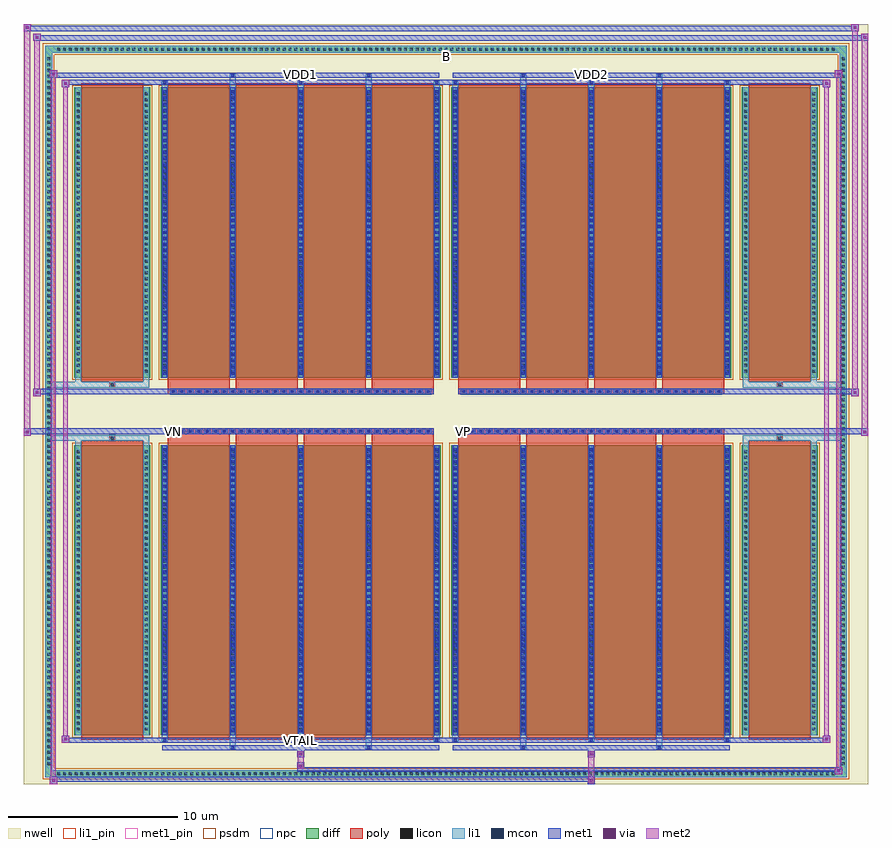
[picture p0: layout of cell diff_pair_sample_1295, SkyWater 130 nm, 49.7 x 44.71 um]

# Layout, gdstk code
import gdstk
lib = gdstk.Library(unit=1e-6, precision=5e-09)
def R(c, l, rs):  # rectangles x0, y0, x1, y1
    for r in rs: c.add(gdstk.rectangle(r[:2], r[2:], *l))
def A(c, l, x, y, w, h, nx, ny, dx, dy):  # array of equal rectangles
    R(c, l, [(x+i*dx, y+j*dy, x+i*dx+w, y+j*dy+h) for i in range(nx) for j in range(ny)])
def P(c, l, *ps):  # polygons
    for p in ps: c.add(gdstk.Polygon(p, *l))
nwell = (64, 20)
diff = (65, 20)
poly = (66, 20)
licon = (66, 44)
li1_pin = (67, 16)
li1 = (67, 20)
mcon = (67, 44)
met1_pin = (68, 16)
met1 = (68, 20)
via = (68, 44)
met2 = (69, 20)
psdm = (94, 20)
npc = (95, 20)

diff_pair_sample_1295 = lib.new_cell('diff_pair_sample_1295')
R(diff_pair_sample_1295, nwell, [(-24.85,-21.92,24.85,22.79), (-22.17,-20.11,-0.01,-0.805), (0.01,-20.11,22.17,-0.805), (-22.17,0.805,-0.01,20.11), (0.01,0.805,22.17,20.11)])
A(diff_pair_sample_1295, diff, -22.985, -21.52, 0.41, 0.41, 135, 2, 0.34, 42.63)
A(diff_pair_sample_1295, diff, -23.58, -20.945, 0.41, 0.41, 1, 123, 0, 0.34)
A(diff_pair_sample_1295, diff, 23.17, -20.945, 0.41, 0.41, 1, 123, 0, 0.34)
R(diff_pair_sample_1295, diff, [(-22.985,-21.52,22.985,-21.11), (-23.58,-20.945,-23.17,20.945), (23.17,-20.945,23.58,20.945), (-21.86,-19.065,-17.41,-1.985), (-16.77,-19.065,-0.32,-1.985), (0.32,-19.065,16.77,-1.985), (17.41,-19.065,21.86,-1.985), (-21.86,1.985,-17.41,19.065), (-16.77,1.985,-0.32,19.065), (0.32,1.985,16.77,19.065), (17.41,1.985,21.86,19.065), (-22.985,21.11,22.985,21.52)])
P(diff_pair_sample_1295, diff, [(23.58,21.52),(-23.58,21.52),(-23.58,-21.11),(-23.17,-21.11),(-23.17,21.11),(23.17,21.11),(23.17,-21.11),(-23.17,-21.11),(-23.58,-21.11),(-23.58,-21.52),(23.58,-21.52)])
A(diff_pair_sample_1295, poly, -16.38, -19.315, 3.67, 17.58, 4, 2, 4, 21.05)
A(diff_pair_sample_1295, poly, 0.71, -19.315, 3.67, 17.58, 4, 2, 4, 21.05)
A(diff_pair_sample_1295, poly, -16.38, -1.735, 3.67, 0.4, 4, 2, 4, 3.07)
A(diff_pair_sample_1295, poly, 0.71, -1.735, 3.67, 0.4, 4, 2, 4, 3.07)
A(diff_pair_sample_1295, poly, -16.21, -1.335, 0.33, 0.33, 31, 2, 0.5, 2.34)
A(diff_pair_sample_1295, poly, 0.88, -1.335, 0.33, 0.33, 31, 2, 0.5, 2.34)
R(diff_pair_sample_1295, poly, [(-21.47,-19.315,-17.8,-1.735), (17.8,-19.315,21.47,-1.735), (-19.8,-1.735,-19.47,-1.405), (-19.8,-1.735,-19.47,-1.405), (19.47,-1.735,19.8,-1.405), (19.47,-1.735,19.8,-1.405), (-16.38,-1.335,-0.71,-1.005), (0.71,-1.335,16.38,-1.005), (-16.38,1.005,-0.71,1.335), (0.71,1.005,16.38,1.335), (-19.8,1.405,-19.47,1.735), (-19.8,1.405,-19.47,1.735), (19.47,1.405,19.8,1.735), (19.47,1.405,19.8,1.735), (-21.47,1.735,-17.8,19.315), (17.8,1.735,21.47,19.315)])
A(diff_pair_sample_1295, licon, -22.865, -21.4, 0.17, 0.17, 135, 2, 0.34, 42.63)
A(diff_pair_sample_1295, licon, -23.46, -20.825, 0.17, 0.17, 1, 123, 0, 0.34)
A(diff_pair_sample_1295, licon, 23.29, -20.825, 0.17, 0.17, 1, 123, 0, 0.34)
A(diff_pair_sample_1295, licon, -21.72, -18.77, 0.17, 0.17, 1, 49, 0, 0.34)
A(diff_pair_sample_1295, licon, -17.72, -18.77, 0.17, 0.17, 1, 49, 0, 0.34)
A(diff_pair_sample_1295, licon, -16.63, -18.77, 0.17, 0.17, 5, 49, 4, 0.34)
A(diff_pair_sample_1295, licon, 0.46, -18.77, 0.17, 0.17, 5, 49, 4, 0.34)
A(diff_pair_sample_1295, licon, 17.55, -18.77, 0.17, 0.17, 1, 49, 0, 0.34)
A(diff_pair_sample_1295, licon, 21.55, -18.77, 0.17, 0.17, 1, 49, 0, 0.34)
A(diff_pair_sample_1295, licon, -16.13, -1.255, 0.17, 0.17, 31, 2, 0.5, 2.34)
A(diff_pair_sample_1295, licon, 0.96, -1.255, 0.17, 0.17, 31, 2, 0.5, 2.34)
A(diff_pair_sample_1295, licon, -21.72, 2.28, 0.17, 0.17, 1, 49, 0, 0.34)
A(diff_pair_sample_1295, licon, -17.72, 2.28, 0.17, 0.17, 1, 49, 0, 0.34)
A(diff_pair_sample_1295, licon, -16.63, 2.28, 0.17, 0.17, 5, 49, 4, 0.34)
A(diff_pair_sample_1295, licon, 0.46, 2.28, 0.17, 0.17, 5, 49, 4, 0.34)
A(diff_pair_sample_1295, licon, 17.55, 2.28, 0.17, 0.17, 1, 49, 0, 0.34)
A(diff_pair_sample_1295, licon, 21.55, 2.28, 0.17, 0.17, 1, 49, 0, 0.34)
R(diff_pair_sample_1295, licon, [(-19.72,-1.655,-19.55,-1.485), (19.55,-1.655,19.72,-1.485), (-19.72,1.485,-19.55,1.655), (19.55,1.485,19.72,1.655)])
R(diff_pair_sample_1295, li1_pin, [(-0.25,20.61,0.25,21.11)])
A(diff_pair_sample_1295, li1, -22.945, -21.48, 0.33, 0.33, 135, 2, 0.34, 42.63)
A(diff_pair_sample_1295, li1, -23.54, -20.905, 0.33, 0.33, 1, 123, 0, 0.34)
A(diff_pair_sample_1295, li1, 23.21, -20.905, 0.33, 0.33, 1, 123, 0, 0.34)
A(diff_pair_sample_1295, li1, -16.71, -19.44, 0.33, 0.375, 3, 2, 8, 38.505)
A(diff_pair_sample_1295, li1, -16.63, -19.44, 0.17, 0.17, 3, 2, 8, 38.71)
A(diff_pair_sample_1295, li1, 0.38, -19.44, 0.33, 0.375, 3, 2, 8, 38.505)
A(diff_pair_sample_1295, li1, 0.46, -19.44, 0.17, 0.17, 3, 2, 8, 38.71)
A(diff_pair_sample_1295, li1, -16.71, -19.065, 0.33, 17.08, 5, 2, 4, 21.05)
A(diff_pair_sample_1295, li1, 0.38, -19.065, 0.33, 17.08, 5, 2, 4, 21.05)
A(diff_pair_sample_1295, li1, -16.63, -18.89, 0.17, 0.17, 5, 47, 4, 0.36)
A(diff_pair_sample_1295, li1, -16.63, -18.89, 0.17, 16.73, 5, 2, 4, 21.05)
A(diff_pair_sample_1295, li1, 0.46, -18.89, 0.17, 0.17, 5, 47, 4, 0.36)
A(diff_pair_sample_1295, li1, 0.46, -18.89, 0.17, 16.73, 5, 2, 4, 21.05)
A(diff_pair_sample_1295, li1, -21.8, -18.85, 0.33, 0.33, 1, 49, 0, 0.34)
A(diff_pair_sample_1295, li1, -17.8, -18.85, 0.33, 0.33, 1, 49, 0, 0.34)
A(diff_pair_sample_1295, li1, -16.71, -18.85, 0.33, 0.33, 5, 49, 4, 0.34)
A(diff_pair_sample_1295, li1, 0.38, -18.85, 0.33, 0.33, 5, 49, 4, 0.34)
A(diff_pair_sample_1295, li1, 17.47, -18.85, 0.33, 0.33, 1, 49, 0, 0.34)
A(diff_pair_sample_1295, li1, 21.47, -18.85, 0.33, 0.33, 1, 49, 0, 0.34)
A(diff_pair_sample_1295, li1, -16.21, -1.335, 0.33, 0.33, 31, 2, 0.5, 2.34)
A(diff_pair_sample_1295, li1, 0.88, -1.335, 0.33, 0.33, 31, 2, 0.5, 2.34)
A(diff_pair_sample_1295, li1, -16.63, 2.16, 0.17, 0.17, 5, 47, 4, 0.36)
A(diff_pair_sample_1295, li1, 0.46, 2.16, 0.17, 0.17, 5, 47, 4, 0.36)
A(diff_pair_sample_1295, li1, -21.8, 2.2, 0.33, 0.33, 1, 49, 0, 0.34)
A(diff_pair_sample_1295, li1, -17.8, 2.2, 0.33, 0.33, 1, 49, 0, 0.34)
A(diff_pair_sample_1295, li1, -16.71, 2.2, 0.33, 0.33, 5, 49, 4, 0.34)
A(diff_pair_sample_1295, li1, 0.38, 2.2, 0.33, 0.33, 5, 49, 4, 0.34)
A(diff_pair_sample_1295, li1, 17.47, 2.2, 0.33, 0.33, 1, 49, 0, 0.34)
A(diff_pair_sample_1295, li1, 21.47, 2.2, 0.33, 0.33, 1, 49, 0, 0.34)
R(diff_pair_sample_1295, li1, [(-23.58,-21.52,-23.17,-21.11), (-23.58,-21.52,-23.17,-21.11), (-23.17,-21.52,23.17,-21.11), (23.17,-21.52,23.58,-21.11), (23.17,-21.52,23.58,-21.11), (-23.58,-21.11,-23.17,21.11), (23.17,-21.11,23.58,21.11), (-12.71,-19.87,-12.38,-19.065), (-12.63,-19.87,-12.46,-19.7), (-4.71,-19.87,-4.38,-19.065), (-4.63,-19.87,-4.46,-19.7), (4.38,-19.87,4.71,-19.065), (4.46,-19.87,4.63,-19.7), (12.38,-19.87,12.71,-19.065), (12.46,-19.87,12.63,-19.7), (-21.8,-19.065,-21.47,-1.985), (-17.8,-19.065,-17.47,-1.985), (17.47,-19.065,17.8,-1.985), (21.47,-19.065,21.8,-1.985), (-21.8,-1.985,-21.47,-1.405), (-17.8,-1.985,-17.47,-1.405), (17.47,-1.985,17.8,-1.405), (21.47,-1.985,21.8,-1.405), (-23.58,-1.735,-19.8,-1.405), (-21.8,-1.735,-19.8,-1.405), (-19.8,-1.735,-19.47,-1.405), (-19.47,-1.735,-17.47,-1.405), (17.47,-1.735,19.47,-1.405), (19.47,-1.735,19.8,-1.405), (19.47,-1.735,23.58,-1.405), (19.8,-1.735,21.8,-1.405), (-23.58,1.405,-19.8,1.735), (-21.8,1.405,-19.8,1.735), (-21.8,1.405,-21.47,1.985), (-19.8,1.405,-19.47,1.735), (-19.47,1.405,-17.47,1.735), (-17.8,1.405,-17.47,1.985), (17.47,1.405,19.47,1.735), (17.47,1.405,17.8,1.985), (19.47,1.405,19.8,1.735), (19.47,1.405,23.58,1.735), (19.8,1.405,21.8,1.735), (21.47,1.405,21.8,1.985), (-21.8,1.985,-21.47,19.065), (-17.8,1.985,-17.47,19.065), (17.47,1.985,17.8,19.065), (21.47,1.985,21.8,19.065), (-12.71,19.065,-12.38,19.87), (-4.71,19.065,-4.38,19.87), (4.38,19.065,4.71,19.87), (12.38,19.065,12.71,19.87), (-12.63,19.7,-12.46,19.87), (-4.63,19.7,-4.46,19.87), (4.46,19.7,4.63,19.87), (12.46,19.7,12.63,19.87), (-23.58,21.11,-23.17,21.52), (-23.58,21.11,-23.17,21.52), (-23.17,21.11,23.17,21.52), (23.17,21.11,23.58,21.52), (23.17,21.11,23.58,21.52)])
A(diff_pair_sample_1295, mcon, -16.63, -19.44, 0.17, 0.17, 3, 2, 8, 38.71)
A(diff_pair_sample_1295, mcon, 0.46, -19.44, 0.17, 0.17, 3, 2, 8, 38.71)
A(diff_pair_sample_1295, mcon, -16.63, -18.89, 0.17, 0.17, 5, 47, 4, 0.36)
A(diff_pair_sample_1295, mcon, 0.46, -18.89, 0.17, 0.17, 5, 47, 4, 0.36)
A(diff_pair_sample_1295, mcon, -16.13, -1.255, 0.17, 0.17, 31, 2, 0.5, 2.34)
A(diff_pair_sample_1295, mcon, 0.96, -1.255, 0.17, 0.17, 31, 2, 0.5, 2.34)
A(diff_pair_sample_1295, mcon, -16.63, 2.16, 0.17, 0.17, 5, 47, 4, 0.36)
A(diff_pair_sample_1295, mcon, 0.46, 2.16, 0.17, 0.17, 5, 47, 4, 0.36)
R(diff_pair_sample_1295, mcon, [(-12.63,-19.87,-12.46,-19.7), (-4.63,-19.87,-4.46,-19.7), (4.46,-19.87,4.63,-19.7), (12.46,-19.87,12.63,-19.7), (-12.63,19.7,-12.46,19.87), (-4.63,19.7,-4.46,19.87), (4.46,19.7,4.63,19.87), (12.46,19.7,12.63,19.87)])
R(diff_pair_sample_1295, met1_pin, [(-8.68,-19.48,-8.41,-19.21), (-16.18,-1.295,-15.91,-1.025), (0.91,-1.295,1.18,-1.025), (-8.68,19.66,-8.41,19.93), (8.41,19.66,8.68,19.93)])
A(diff_pair_sample_1295, met1, -16.69, -19.5, 0.29, 0.29, 3, 2, 8, 38.71)
A(diff_pair_sample_1295, met1, 0.4, -19.5, 0.29, 0.29, 3, 2, 8, 38.71)
A(diff_pair_sample_1295, met1, -16.69, -19.065, 0.29, 17.08, 5, 2, 4, 21.05)
A(diff_pair_sample_1295, met1, 0.4, -19.065, 0.29, 17.08, 5, 2, 4, 21.05)
A(diff_pair_sample_1295, met1, -16.69, -18.95, 0.29, 0.29, 5, 47, 4, 0.36)
A(diff_pair_sample_1295, met1, 0.4, -18.95, 0.29, 0.29, 5, 47, 4, 0.36)
A(diff_pair_sample_1295, met1, -16.19, -1.315, 0.29, 0.29, 31, 2, 0.5, 2.34)
A(diff_pair_sample_1295, met1, 0.9, -1.315, 0.29, 0.29, 31, 2, 0.5, 2.34)
A(diff_pair_sample_1295, met1, -16.69, 2.1, 0.29, 0.29, 5, 47, 4, 0.36)
A(diff_pair_sample_1295, met1, 0.4, 2.1, 0.29, 0.29, 5, 47, 4, 0.36)
R(diff_pair_sample_1295, met1, [(-23.31,-21.92,-22.88,-21.49), (8.33,-21.92,8.76,-21.49), (-23.31,-21.78,8.76,-21.49), (22.88,-21.35,23.31,-20.92), (-8.76,-21.21,23.31,-20.92), (-8.76,-21.07,-8.33,-20.64), (-8.76,-20.36,-8.33,-19.93), (8.33,-20.36,8.76,-19.93), (-16.69,-19.93,-0.4,-19.64), (-12.69,-19.93,-12.4,-19.64), (-4.69,-19.93,-4.4,-19.64), (0.4,-19.93,16.69,-19.64), (4.4,-19.93,4.69,-19.64), (12.4,-19.93,12.69,-19.64), (-22.6,-19.5,-22.17,-19.07), (-22.6,-19.5,-16.69,-19.21), (-16.69,-19.5,-0.4,-19.21), (-0.4,-19.5,0.4,-19.21), (0.4,-19.5,16.69,-19.21), (16.69,-19.5,22.6,-19.21), (22.17,-19.5,22.6,-19.07), (-24.85,-1.435,-24.42,-1.005), (24.42,-1.435,24.85,-1.005), (-24.85,-1.335,-0.71,-1.005), (-16.38,-1.335,-0.71,-1.005), (0.71,-1.335,16.38,-1.005), (0.71,-1.335,24.85,-1.005), (-24.28,0.905,-23.85,1.335), (23.85,0.905,24.28,1.335), (-24.28,1.005,-16.38,1.335), (-16.38,1.005,-0.71,1.335), (0.71,1.005,16.38,1.335), (16.38,1.005,24.28,1.335), (-22.6,19.07,-22.17,19.5), (22.17,19.07,22.6,19.5), (-22.6,19.21,-16.69,19.5), (-16.69,19.21,-0.4,19.5), (-0.4,19.21,0.4,19.5), (0.4,19.21,16.69,19.5), (16.69,19.21,22.6,19.5), (-23.31,19.64,-22.88,20.07), (-23.31,19.64,-16.69,19.93), (-16.69,19.64,-0.4,19.93), (-12.69,19.64,-12.4,19.93), (-4.69,19.64,-4.4,19.93), (0.4,19.64,16.69,19.93), (4.4,19.64,4.69,19.93), (12.4,19.64,12.69,19.93), (16.69,19.64,23.31,19.93), (22.88,19.64,23.31,20.07), (-24.28,21.79,-23.85,22.22), (-24.28,21.79,-22.17,22.12), (-22.17,21.79,22.17,22.12), (22.17,21.79,24.85,22.12), (24.42,21.79,24.85,22.22), (-24.85,22.36,-24.42,22.79), (-24.85,22.36,-22.17,22.69), (-22.17,22.36,22.17,22.69), (22.17,22.36,24.28,22.69), (23.85,22.36,24.28,22.79)])
R(diff_pair_sample_1295, via, [(-23.17,-21.78,-23.02,-21.63), (8.47,-21.78,8.62,-21.63), (23.02,-21.21,23.17,-21.06), (-8.62,-20.93,-8.47,-20.78), (-8.62,-20.22,-8.47,-20.07), (8.47,-20.22,8.62,-20.07), (-22.46,-19.36,-22.31,-19.21), (22.31,-19.36,22.46,-19.21), (-24.71,-1.295,-24.56,-1.145), (24.56,-1.295,24.71,-1.145), (-24.14,1.045,-23.99,1.195), (23.99,1.045,24.14,1.195), (-22.46,19.21,-22.31,19.36), (22.31,19.21,22.46,19.36), (-23.17,19.78,-23.02,19.93), (23.02,19.78,23.17,19.93), (-24.14,21.93,-23.99,22.08), (24.56,21.93,24.71,22.08), (-24.71,22.5,-24.56,22.65), (23.99,22.5,24.14,22.65)])
R(diff_pair_sample_1295, met2, [(-23.31,-21.92,-22.88,-21.49), (-23.24,-21.92,-22.95,20.07), (-22.95,-21.92,-22.88,-21.49), (-23.26,-21.87,-22.93,-21.54), (8.38,-21.87,8.71,-21.54), (8.38,-21.54,8.71,-20.31), (22.88,-21.35,23.31,-20.92), (22.95,-21.35,23.24,20.07), (23.24,-21.35,23.31,-20.92), (22.93,-21.3,23.26,-20.97), (-8.71,-21.02,-8.38,-20.69), (-8.71,-20.69,-8.38,-20.31), (-8.71,-20.31,-8.38,-19.98), (8.38,-20.31,8.71,-19.98), (-22.6,-19.5,-22.17,-19.07), (-22.53,-19.5,-22.24,19.5), (-22.24,-19.5,-22.17,-19.07), (22.17,-19.5,22.6,-19.07), (22.24,-19.5,22.53,19.5), (22.53,-19.5,22.6,-19.07), (-22.55,-19.45,-22.22,-19.12), (22.22,-19.45,22.55,-19.12), (-24.85,-1.435,-24.42,-1.005), (-24.8,-1.435,-24.47,22.79), (-24.47,-1.435,-24.42,-1.005), (24.42,-1.435,24.85,-1.005), (24.47,-1.435,24.8,22.22), (24.8,-1.435,24.85,-1.005), (-24.8,-1.385,-24.47,-1.055), (24.47,-1.385,24.8,-1.055), (-24.28,0.905,-23.85,1.335), (-24.23,0.905,-23.9,22.22), (-23.9,0.905,-23.85,1.335), (23.85,0.905,24.28,1.335), (23.9,0.905,24.23,22.79), (24.23,0.905,24.28,1.335), (-24.23,0.955,-23.9,1.285), (23.9,0.955,24.23,1.285), (-22.6,19.07,-22.17,19.5), (-22.24,19.07,-22.17,19.5), (22.17,19.07,22.6,19.5), (22.53,19.07,22.6,19.5), (-22.55,19.12,-22.22,19.45), (22.22,19.12,22.55,19.45), (-23.31,19.64,-22.88,20.07), (-22.95,19.64,-22.88,20.07), (22.88,19.64,23.31,20.07), (23.24,19.64,23.31,20.07), (-23.26,19.69,-22.93,20.02), (22.93,19.69,23.26,20.02), (-24.28,21.79,-23.85,22.22), (-23.9,21.79,-23.85,22.22), (24.42,21.79,24.85,22.22), (24.8,21.79,24.85,22.22), (-24.23,21.84,-23.9,22.17), (24.47,21.84,24.8,22.17), (-24.85,22.36,-24.42,22.79), (-24.47,22.36,-24.42,22.79), (23.85,22.36,24.28,22.79), (24.23,22.36,24.28,22.79), (-24.8,22.41,-24.47,22.74), (23.9,22.41,24.23,22.74)])
R(diff_pair_sample_1295, psdm, [(-21.99,-19.195,-17.28,-1.855), (-16.9,-19.195,-0.19,-1.855), (0.19,-19.195,16.9,-1.855), (17.28,-19.195,21.99,-1.855), (-21.99,1.855,-17.28,19.195), (-16.9,1.855,-0.19,19.195), (0.19,1.855,16.9,19.195), (17.28,1.855,21.99,19.195)])
P(diff_pair_sample_1295, psdm, [(23.71,21.65),(-23.71,21.65),(-23.71,-20.98),(-23.04,-20.98),(-23.04,20.98),(23.04,20.98),(23.04,-20.98),(-23.04,-20.98),(-23.71,-20.98),(-23.71,-21.65),(23.71,-21.65)])
A(diff_pair_sample_1295, npc, -16.23, -1.355, 0.37, 0.37, 31, 2, 0.5, 2.34)
A(diff_pair_sample_1295, npc, 0.86, -1.355, 0.37, 0.37, 31, 2, 0.5, 2.34)
R(diff_pair_sample_1295, npc, [(-19.82,-1.755,-19.45,-1.385), (19.45,-1.755,19.82,-1.385), (-16.23,-1.355,-15.36,-0.985), (-16.23,-1.355,-15.36,-0.985), (-15.73,-1.355,-14.86,-0.985), (-15.73,-1.355,-14.86,-0.985), (-15.23,-1.355,-14.36,-0.985), (-15.23,-1.355,-14.36,-0.985), (-14.73,-1.355,-13.86,-0.985), (-14.73,-1.355,-13.86,-0.985), (-14.23,-1.355,-13.36,-0.985), (-14.23,-1.355,-13.36,-0.985), (-13.73,-1.355,-12.86,-0.985), (-13.73,-1.355,-12.86,-0.985), (-13.23,-1.355,-12.36,-0.985), (-13.23,-1.355,-12.36,-0.985), (-12.73,-1.355,-11.86,-0.985), (-12.73,-1.355,-11.86,-0.985), (-12.23,-1.355,-11.36,-0.985), (-12.23,-1.355,-11.36,-0.985), (-11.73,-1.355,-10.86,-0.985), (-11.73,-1.355,-10.86,-0.985), (-11.23,-1.355,-10.36,-0.985), (-11.23,-1.355,-10.36,-0.985), (-10.73,-1.355,-9.86,-0.985), (-10.73,-1.355,-9.86,-0.985), (-10.23,-1.355,-9.36,-0.985), (-10.23,-1.355,-9.36,-0.985), (-9.73,-1.355,-8.86,-0.985), (-9.73,-1.355,-8.86,-0.985), (-9.23,-1.355,-8.36,-0.985), (-9.23,-1.355,-8.36,-0.985), (-8.73,-1.355,-7.86,-0.985), (-8.73,-1.355,-7.86,-0.985), (-8.23,-1.355,-7.36,-0.985), (-8.23,-1.355,-7.36,-0.985), (-7.73,-1.355,-6.86,-0.985), (-7.73,-1.355,-6.86,-0.985), (-7.23,-1.355,-6.36,-0.985), (-7.23,-1.355,-6.36,-0.985), (-6.73,-1.355,-5.86,-0.985), (-6.73,-1.355,-5.86,-0.985), (-6.23,-1.355,-5.36,-0.985), (-6.23,-1.355,-5.36,-0.985), (-5.73,-1.355,-4.86,-0.985), (-5.73,-1.355,-4.86,-0.985), (-5.23,-1.355,-4.36,-0.985), (-5.23,-1.355,-4.36,-0.985), (-4.73,-1.355,-3.86,-0.985), (-4.73,-1.355,-3.86,-0.985), (-4.23,-1.355,-3.36,-0.985), (-4.23,-1.355,-3.36,-0.985), (-3.73,-1.355,-2.86,-0.985), (-3.73,-1.355,-2.86,-0.985), (-3.23,-1.355,-2.36,-0.985), (-3.23,-1.355,-2.36,-0.985), (-2.73,-1.355,-1.86,-0.985), (-2.73,-1.355,-1.86,-0.985), (-2.23,-1.355,-1.36,-0.985), (-2.23,-1.355,-1.36,-0.985), (-1.73,-1.355,-0.86,-0.985), (-1.73,-1.355,-0.86,-0.985), (0.86,-1.355,1.73,-0.985), (0.86,-1.355,1.73,-0.985), (1.36,-1.355,2.23,-0.985), (1.36,-1.355,2.23,-0.985), (1.86,-1.355,2.73,-0.985), (1.86,-1.355,2.73,-0.985), (2.36,-1.355,3.23,-0.985), (2.36,-1.355,3.23,-0.985), (2.86,-1.355,3.73,-0.985), (2.86,-1.355,3.73,-0.985), (3.36,-1.355,4.23,-0.985), (3.36,-1.355,4.23,-0.985), (3.86,-1.355,4.73,-0.985), (3.86,-1.355,4.73,-0.985), (4.36,-1.355,5.23,-0.985), (4.36,-1.355,5.23,-0.985), (4.86,-1.355,5.73,-0.985), (4.86,-1.355,5.73,-0.985), (5.36,-1.355,6.23,-0.985), (5.36,-1.355,6.23,-0.985), (5.86,-1.355,6.73,-0.985), (5.86,-1.355,6.73,-0.985), (6.36,-1.355,7.23,-0.985), (6.36,-1.355,7.23,-0.985), (6.86,-1.355,7.73,-0.985), (6.86,-1.355,7.73,-0.985), (7.36,-1.355,8.23,-0.985), (7.36,-1.355,8.23,-0.985), (7.86,-1.355,8.73,-0.985), (7.86,-1.355,8.73,-0.985), (8.36,-1.355,9.23,-0.985), (8.36,-1.355,9.23,-0.985), (8.86,-1.355,9.73,-0.985), (8.86,-1.355,9.73,-0.985), (9.36,-1.355,10.23,-0.985), (9.36,-1.355,10.23,-0.985), (9.86,-1.355,10.73,-0.985), (9.86,-1.355,10.73,-0.985), (10.36,-1.355,11.23,-0.985), (10.36,-1.355,11.23,-0.985), (10.86,-1.355,11.73,-0.985), (10.86,-1.355,11.73,-0.985), (11.36,-1.355,12.23,-0.985), (11.36,-1.355,12.23,-0.985), (11.86,-1.355,12.73,-0.985), (11.86,-1.355,12.73,-0.985), (12.36,-1.355,13.23,-0.985), (12.36,-1.355,13.23,-0.985), (12.86,-1.355,13.73,-0.985), (12.86,-1.355,13.73,-0.985), (13.36,-1.355,14.23,-0.985), (13.36,-1.355,14.23,-0.985), (13.86,-1.355,14.73,-0.985), (13.86,-1.355,14.73,-0.985), (14.36,-1.355,15.23,-0.985), (14.36,-1.355,15.23,-0.985), (14.86,-1.355,15.73,-0.985), (14.86,-1.355,15.73,-0.985), (15.36,-1.355,16.23,-0.985), (15.36,-1.355,16.23,-0.985), (-16.23,0.985,-15.36,1.355), (-16.23,0.985,-15.36,1.355), (-15.73,0.985,-14.86,1.355), (-15.73,0.985,-14.86,1.355), (-15.23,0.985,-14.36,1.355), (-15.23,0.985,-14.36,1.355), (-14.73,0.985,-13.86,1.355), (-14.73,0.985,-13.86,1.355), (-14.23,0.985,-13.36,1.355), (-14.23,0.985,-13.36,1.355), (-13.73,0.985,-12.86,1.355), (-13.73,0.985,-12.86,1.355), (-13.23,0.985,-12.36,1.355), (-13.23,0.985,-12.36,1.355), (-12.73,0.985,-11.86,1.355), (-12.73,0.985,-11.86,1.355), (-12.23,0.985,-11.36,1.355), (-12.23,0.985,-11.36,1.355), (-11.73,0.985,-10.86,1.355), (-11.73,0.985,-10.86,1.355), (-11.23,0.985,-10.36,1.355), (-11.23,0.985,-10.36,1.355), (-10.73,0.985,-9.86,1.355), (-10.73,0.985,-9.86,1.355), (-10.23,0.985,-9.36,1.355), (-10.23,0.985,-9.36,1.355), (-9.73,0.985,-8.86,1.355), (-9.73,0.985,-8.86,1.355), (-9.23,0.985,-8.36,1.355), (-9.23,0.985,-8.36,1.355), (-8.73,0.985,-7.86,1.355), (-8.73,0.985,-7.86,1.355), (-8.23,0.985,-7.36,1.355), (-8.23,0.985,-7.36,1.355), (-7.73,0.985,-6.86,1.355), (-7.73,0.985,-6.86,1.355), (-7.23,0.985,-6.36,1.355), (-7.23,0.985,-6.36,1.355), (-6.73,0.985,-5.86,1.355), (-6.73,0.985,-5.86,1.355), (-6.23,0.985,-5.36,1.355), (-6.23,0.985,-5.36,1.355), (-5.73,0.985,-4.86,1.355), (-5.73,0.985,-4.86,1.355), (-5.23,0.985,-4.36,1.355), (-5.23,0.985,-4.36,1.355), (-4.73,0.985,-3.86,1.355), (-4.73,0.985,-3.86,1.355), (-4.23,0.985,-3.36,1.355), (-4.23,0.985,-3.36,1.355), (-3.73,0.985,-2.86,1.355), (-3.73,0.985,-2.86,1.355), (-3.23,0.985,-2.36,1.355), (-3.23,0.985,-2.36,1.355), (-2.73,0.985,-1.86,1.355), (-2.73,0.985,-1.86,1.355), (-2.23,0.985,-1.36,1.355), (-2.23,0.985,-1.36,1.355), (-1.73,0.985,-0.86,1.355), (-1.73,0.985,-0.86,1.355), (0.86,0.985,1.73,1.355), (0.86,0.985,1.73,1.355), (1.36,0.985,2.23,1.355), (1.36,0.985,2.23,1.355), (1.86,0.985,2.73,1.355), (1.86,0.985,2.73,1.355), (2.36,0.985,3.23,1.355), (2.36,0.985,3.23,1.355), (2.86,0.985,3.73,1.355), (2.86,0.985,3.73,1.355), (3.36,0.985,4.23,1.355), (3.36,0.985,4.23,1.355), (3.86,0.985,4.73,1.355), (3.86,0.985,4.73,1.355), (4.36,0.985,5.23,1.355), (4.36,0.985,5.23,1.355), (4.86,0.985,5.73,1.355), (4.86,0.985,5.73,1.355), (5.36,0.985,6.23,1.355), (5.36,0.985,6.23,1.355), (5.86,0.985,6.73,1.355), (5.86,0.985,6.73,1.355), (6.36,0.985,7.23,1.355), (6.36,0.985,7.23,1.355), (6.86,0.985,7.73,1.355), (6.86,0.985,7.73,1.355), (7.36,0.985,8.23,1.355), (7.36,0.985,8.23,1.355), (7.86,0.985,8.73,1.355), (7.86,0.985,8.73,1.355), (8.36,0.985,9.23,1.355), (8.36,0.985,9.23,1.355), (8.86,0.985,9.73,1.355), (8.86,0.985,9.73,1.355), (9.36,0.985,10.23,1.355), (9.36,0.985,10.23,1.355), (9.86,0.985,10.73,1.355), (9.86,0.985,10.73,1.355), (10.36,0.985,11.23,1.355), (10.36,0.985,11.23,1.355), (10.86,0.985,11.73,1.355), (10.86,0.985,11.73,1.355), (11.36,0.985,12.23,1.355), (11.36,0.985,12.23,1.355), (11.86,0.985,12.73,1.355), (11.86,0.985,12.73,1.355), (12.36,0.985,13.23,1.355), (12.36,0.985,13.23,1.355), (12.86,0.985,13.73,1.355), (12.86,0.985,13.73,1.355), (13.36,0.985,14.23,1.355), (13.36,0.985,14.23,1.355), (13.86,0.985,14.73,1.355), (13.86,0.985,14.73,1.355), (14.36,0.985,15.23,1.355), (14.36,0.985,15.23,1.355), (14.86,0.985,15.73,1.355), (14.86,0.985,15.73,1.355), (15.36,0.985,16.23,1.355), (15.36,0.985,16.23,1.355), (-19.82,1.385,-19.45,1.755), (19.45,1.385,19.82,1.755)])
diff_pair_sample_1295.add(gdstk.Label('VTAIL', (-8.545,-19.345), layer=68, texttype=5))
diff_pair_sample_1295.add(gdstk.Label('VN', (-16.045,-1.16), layer=68, texttype=5))
diff_pair_sample_1295.add(gdstk.Label('VP', (1.045,-1.16), layer=68, texttype=5))
diff_pair_sample_1295.add(gdstk.Label('B', (0,20.86), layer=67, texttype=5))
diff_pair_sample_1295.add(gdstk.Label('VDD2', (8.545,19.795), layer=68, texttype=5))
diff_pair_sample_1295.add(gdstk.Label('VDD1', (-8.545,19.795), layer=68, texttype=5))

lib.write_gds('diff_pair_sample_1295.gds')
